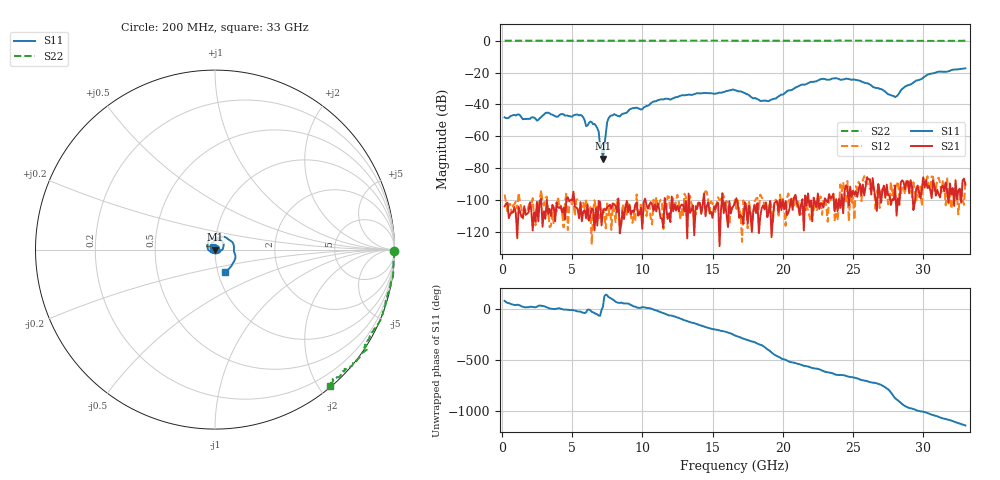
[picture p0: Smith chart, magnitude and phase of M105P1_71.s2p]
# GHZ S RI R 50
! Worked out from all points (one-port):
!   329 points, 200 MHz to 33 GHz, reference 50 ohm
!   lowest |S11| = -74.0 dB at 7.2 GHz (marker M1), VSWR 1.00, Z = 50 + j0.0084 ohm
!   |S11| at or under -10 dB: start of sweep to end of sweep
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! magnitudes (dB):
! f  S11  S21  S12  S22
! 200 MHz  -48.1  -103.9  -96.5  0.0
! 1.2 GHz  -46.2  -104.1  -95.5  0.0
! 2.5 GHz  -50.2  -101.1  -102.4  0.0
! 3.2 GHz  -45.2  -99.9  -97.8  0.0
! 5.7 GHz  -47.0  -113.2  -104.4  0.0
! 6 GHz  -53.6  -111.4  -99.3  0.0
! 6.3 GHz  -50.7  -109.8  -104.3  0.0
! 6.8 GHz  -54.9  -115.9  -104.1  0.0
! 6.9 GHz  -57.2  -100.5  -111.5  0.0
! 7 GHz  -66.9  -101.2  -102.6  0.0
! 7.2 GHz  -74.0  -107.1  -105.9  0.0
! 7.5 GHz  -51.1  -104.5  -100.9  0.0
! 7.7 GHz  -47.4  -103.0  -102.9  0.0
! 11.2 GHz  -37.1  -105.3  -102.0  0.0
! 16.6 GHz  -31.1  -101.8  -99.6  0.0
! 19 GHz  -37.9  -107.7  -102.6  -0.1
! 22.1 GHz  -25.8  -113.2  -106.2  -0.1
! 25.1 GHz  -24.4  -96.6  -112.3  0.0
! 27.6 GHz  -33.8  -97.1  -100.6  0.0
! 28 GHz  -35.4  -90.8  -91.7  -0.1
! 30.4 GHz  -21.0  -91.2  -91.5  -0.1
! 33 GHz  -17.3  -90.3  -88.2  0.0
